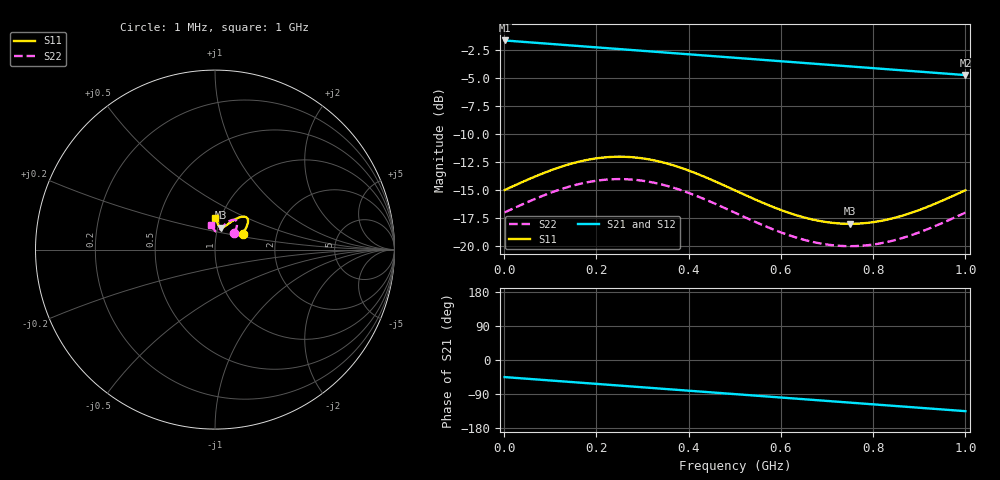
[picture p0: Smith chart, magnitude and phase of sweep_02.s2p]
! Synthetic S2P fixture: sweep_02.s2p
! Generated for testing purposes
# MHZ S DB R 50
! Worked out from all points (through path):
!   101 points, 1 MHz to 1 GHz, reference 50 ohm
!   highest |S21| = -1.60 dB at 1 MHz (marker M1); lowest = -4.7 dB at 1 GHz (marker M2)
!   lowest |S11| = -18.0 dB at 750.2 MHz (marker M3), VSWR 1.29, Z = 51.8 + j12.8 ohm
!   |S11| at or under -10 dB: start of sweep to end of sweep
!   |S22| runs from -20.0 to -14.0 dB; largest |S21 - S12| = 0
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1  -14.98 30.1  -1.60 -45.1  -1.60 -45.1  -16.98 40.1
50.95  -14.06 33.1  -1.76 -49.6  -1.76 -49.6  -16.06 43.1
100.9  -13.22 36.1  -1.91 -54.1  -1.91 -54.1  -15.22 46.1
140.86  -12.68 38.5  -2.04 -57.7  -2.04 -57.7  -14.68 48.5
170.83  -12.36 40.2  -2.13 -60.4  -2.13 -60.4  -14.36 50.2
210.79  -12.09 42.6  -2.25 -64.0  -2.25 -64.0  -14.09 52.6
250.75  -12.00 45.0  -2.38 -67.6  -2.38 -67.6  -14.00 55.0
290.71  -12.10 47.4  -2.50 -71.2  -2.50 -71.2  -14.10 57.4
340.66  -12.47 50.4  -2.66 -75.7  -2.66 -75.7  -14.47 60.4
370.63  -12.82 52.2  -2.75 -78.4  -2.75 -78.4  -14.82 62.2
410.59  -13.40 54.6  -2.87 -82.0  -2.87 -82.0  -15.40 64.6
500.5  -15.01 60.0  -3.15 -90.0  -3.15 -90.0  -17.01 70.0
600.4  -16.77 66.0  -3.46 -99.0  -3.46 -99.0  -18.77 76.0
640.36  -17.32 68.4  -3.59 -102.6  -3.59 -102.6  -19.32 78.4
670.33  -17.63 70.2  -3.68 -105.3  -3.68 -105.3  -19.63 80.2
710.29  -17.91 72.6  -3.80 -108.9  -3.80 -108.9  -19.91 82.6
750.25  -18.00 75.0  -3.93 -112.5  -3.93 -112.5  -20.00 85.0
790.21  -17.90 77.4  -4.05 -116.1  -4.05 -116.1  -19.90 87.4
840.16  -17.53 80.4  -4.20 -120.6  -4.20 -120.6  -19.53 90.4
870.13  -17.19 82.2  -4.30 -123.3  -4.30 -123.3  -19.19 92.2
910.09  -16.61 84.6  -4.42 -126.9  -4.42 -126.9  -18.61 94.6
1000  -15.00 90.0  -4.70 -135.0  -4.70 -135.0  -17.00 100.0
